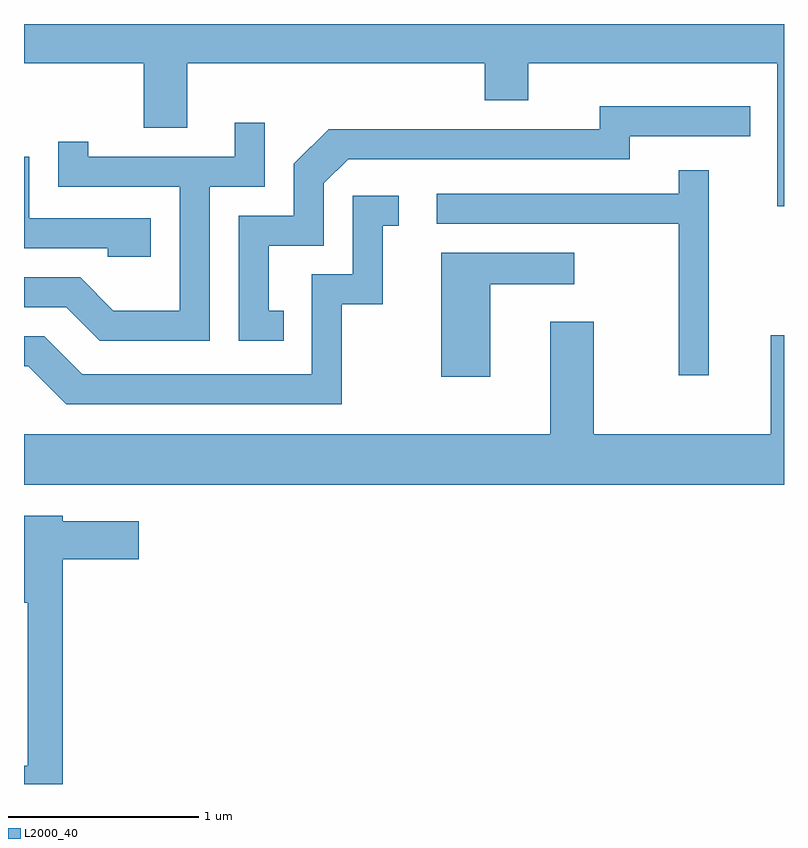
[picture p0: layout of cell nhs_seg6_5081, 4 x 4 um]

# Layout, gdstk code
import gdstk
lib = gdstk.Library(unit=1e-6, precision=1e-09)
def P(c, l, *ps):  # polygons
    for p in ps: c.add(gdstk.Polygon(p, *l))
L2000_40 = (2000, 40)

nhs_seg6_5081 = lib.new_cell('nhs_seg6_5081')
P(nhs_seg6_5081, L2000_40, [(343.611,1630.162),(339.611,1630.162),(339.611,1629.956),(340.241,1629.956),(340.241,1629.616),(340.469,1629.616),(340.469,1629.956),(342.036,1629.956),(342.036,1629.761),(342.264,1629.761),(342.264,1629.956),(343.576,1629.956),(343.576,1629.203),(343.611,1629.203)],
  [(340.978,1628.654),(340.899,1628.654),(340.899,1628.996),(341.189,1628.996),(341.189,1629.324),(341.317,1629.451),(342.799,1629.451),(342.799,1629.571),(343.433,1629.571),(343.433,1629.729),(342.641,1629.729),(342.641,1629.609),(341.214,1629.609),(341.031,1629.427),(341.031,1629.154),(340.741,1629.154),(340.741,1628.496),(340.978,1628.496)],
  [(340.589,1629.306),(340.879,1629.306),(340.879,1629.643),(340.721,1629.643),(340.721,1629.464),(339.949,1629.464),(339.949,1629.543),(339.791,1629.543),(339.791,1629.306),(340.431,1629.306),(340.431,1628.654),(340.082,1628.654),(339.907,1628.829),(339.611,1628.829),(339.611,1628.671),(339.834,1628.671),(340.009,1628.496),(340.589,1628.496)],
  [(340.279,1629.139),(339.639,1629.139),(339.639,1629.464),(339.611,1629.464),(339.611,1628.981),(340.051,1628.981),(340.051,1628.936),(340.279,1628.936)],
  [(343.214,1629.393),(343.056,1629.393),(343.056,1629.269),(341.783,1629.269),(341.783,1629.111),(343.056,1629.111),(343.056,1628.313),(343.214,1628.313)],
  [(341.284,1628.686),(341.499,1628.686),(341.499,1629.101),(341.583,1629.101),(341.583,1629.259),(341.341,1629.259),(341.341,1628.844),(341.126,1628.844),(341.126,1628.319),(339.917,1628.319),(339.717,1628.519),(339.611,1628.519),(339.611,1628.361),(339.634,1628.361),(339.834,1628.161),(341.284,1628.161)],
  [(342.064,1628.791),(342.508,1628.791),(342.508,1628.959),(341.806,1628.959),(341.806,1628.306),(342.064,1628.306)],
  [(343.611,1628.524),(343.541,1628.524),(343.541,1628.004),(342.609,1628.004),(342.609,1628.594),(342.381,1628.594),(342.381,1628.004),(339.611,1628.004),(339.611,1627.736),(343.611,1627.736)],
  [(339.814,1627.346),(340.214,1627.346),(340.214,1627.544),(339.814,1627.544),(339.814,1627.574),(339.611,1627.574),(339.611,1627.116),(339.631,1627.116),(339.631,1626.259),(339.611,1626.259),(339.611,1626.162),(339.814,1626.162)])

lib.write_gds('nhs_seg6_5081.gds')
